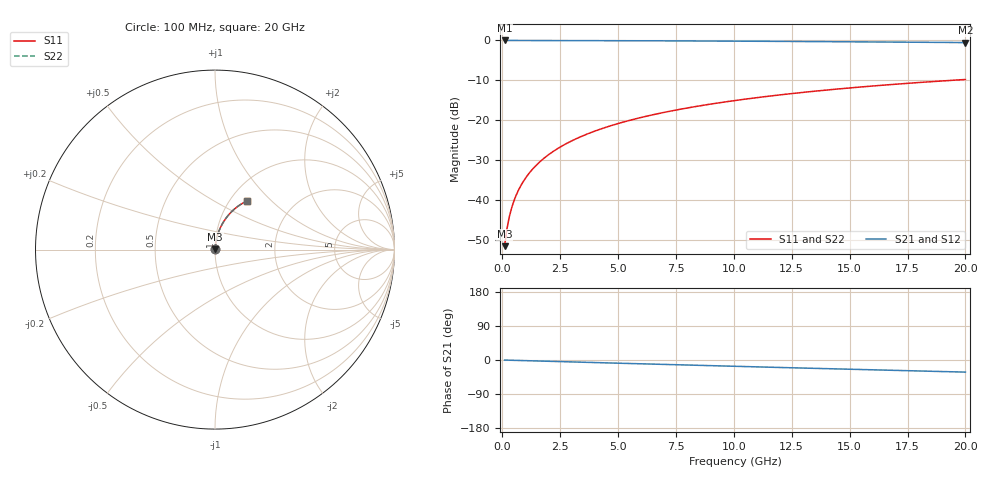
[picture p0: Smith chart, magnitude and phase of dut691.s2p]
! Touchstone file exported from HFSS 2026.1.0
!  File:  C:/ffzhzh/LocalFiles/Ansys_Project_Files/temp_train_BSMRDL_691_1783017708_46388.aedt
!  Generated:  02:43:16 AM Jul  3, 2026
!  Design:  BSMRDL
!  Project:  temp_train_BSMRDL_691_1783017708_46388
! Variables:
!  h_bsmrdl = 3.97um
!  h_ox = 20um
!  h_rdl = 5um
!  h_sub = 80um
!  h_tmrdl = 5um
!  h_tsv = 80um
!  h_via = 3um
!  l_bsmrdl = 421.43um
!  l_sub = 821.43um
!  l_tmrdl = 200um
!  m_sub = 200um
!  pitch = 58.57um
!  r_tsv = 6um
!  s_tmrdl = 10um
!  w_bsmrdl = 24.84um
!  w_sub = 500um
!  w_tmrdl = 12um
!  x_tsv_center1 = 206um
!  x_tsv_center2 = 652.27um
!  x_tsv_center3 = 864.27um
!  x_tsv_center4 = 1310.54um
!  x_tsv_center5 = 1522.54um
!  x_tsv_center6 = 1968.81um
# GHz S MA R 50.000000
! Terminal data exported
! Port[1] = BSM_RDL1_1_T1
! Port[2] = BSM_RDL1_1_T2
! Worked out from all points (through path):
!   200 points, 100 MHz to 20 GHz, reference 50 ohm
!   highest |S21| = -0.01 dB at 100 MHz (marker M1); lowest = -0.5 dB at 20 GHz (marker M2)
!   group delay of S21, straight-line fit = 4.44 ps
!   lowest |S11| = -51.6 dB at 100 MHz (marker M3), VSWR 1.01, Z = 50.2 + j0.199 ohm
!   |S11| at or under -10 dB: start of sweep to 19.46 GHz
!   |S22| runs from -51.6 to -9.8 dB; largest |S21 - S12| = 3.2e-15
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0.1  0.002625 48.9  0.9983 -0.2  0.9983 -0.2  0.002625 48.9
! Gamma 0 0 0 0
! Port Impedance 50 0 50 0
0.2  0.004309 64.7  0.9982 -0.4  0.9982 -0.4  0.004309 64.7
0.3  0.006083 71.2  0.9981 -0.5  0.9981 -0.5  0.006083 71.2
0.4  0.007867 74.7  0.998 -0.7  0.998 -0.7  0.007866 74.7
0.5  0.009655 76.9  0.9979 -0.9  0.9979 -0.9  0.009655 76.9
0.7  0.01325 79.6  0.9978 -1.2  0.9978 -1.2  0.01325 79.6
0.8  0.01506 80.4  0.9978 -1.4  0.9978 -1.4  0.01506 80.4
1  0.01868 81.5  0.9976 -1.7  0.9976 -1.7  0.01868 81.5
1.2  0.02232 82.2  0.9975 -2.0  0.9975 -2.0  0.02232 82.2
1.4  0.02596 82.5  0.9974 -2.4  0.9974 -2.4  0.02596 82.5
1.7  0.03143 82.8  0.9972 -2.9  0.9972 -2.9  0.03143 82.8
2  0.03689 82.8  0.9969 -3.4  0.9969 -3.4  0.03689 82.8
2.7  0.04959 82.3  0.9961 -4.6  0.9961 -4.6  0.04959 82.3
3.5  0.064 81.4  0.995 -5.9  0.995 -5.9  0.064 81.4
4.2  0.07649 80.4  0.9938 -7.1  0.9938 -7.1  0.07649 80.4
5  0.09063 79.3  0.9923 -8.4  0.9923 -8.4  0.09063 79.3
6.8  0.1219 76.6  0.9882 -11.4  0.9882 -11.4  0.1219 76.6
8.3  0.1473 74.3  0.9842 -13.8  0.9842 -13.8  0.1473 74.3
10.1  0.177 71.5  0.9787 -16.7  0.9787 -16.7  0.177 71.5
13.4  0.2293 66.5  0.9671 -21.9  0.9671 -21.9  0.2292 66.5
16.7  0.2781 61.6  0.9537 -27.0  0.9537 -27.0  0.2781 61.6
20  0.3234 56.7  0.939 -32.0  0.939 -32.0  0.3234 56.8
